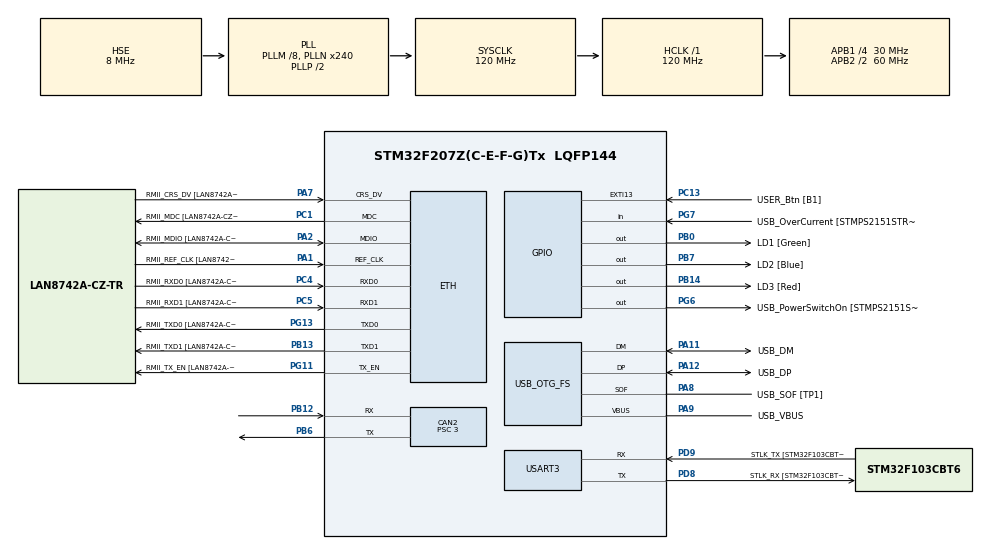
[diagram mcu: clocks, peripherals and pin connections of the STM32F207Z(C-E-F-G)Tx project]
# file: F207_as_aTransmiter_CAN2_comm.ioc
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CAN2.ABOM=ENABLE
CAN2.BS1=CAN_BS1_8TQ
CAN2.CalculateBaudRate=1000000
CAN2.CalculateTimeBit=1000
CAN2.CalculateTimeQuantum=100.0
CAN2.NART=ENABLE
CAN2.Prescaler=3
ETH.MediaInterface=ETH_MEDIA_INTERFACE_RMII
ETH.PHY_Name=LAN8742A_PHY_ADDRESS
ETH.PHY_Value=0
ETH.PhyAddress=0
Mcu.Family=STM32F2
Mcu.Name=STM32F207Z(C-E-F-G)Tx
Mcu.Package=LQFP144
NVIC.CAN2_TX_IRQn=true\:0\:0\:false\:false\:true\:true\:true\:true
NVIC.PriorityGroup=NVIC_PRIORITYGROUP_4
PA1.GPIO_Label=RMII_REF_CLK [LAN8742A-CZ-TR_REFCLK0]
PA1.Mode=RMII
PA1.Signal=ETH_REF_CLK
PA10.GPIO_Label=USB_ID
PA10.Signal=USB_OTG_FS_ID
PA11.GPIO_Label=USB_DM
PA11.Mode=Device_Only
PA11.Signal=USB_OTG_FS_DM
PA12.GPIO_Label=USB_DP
PA12.Mode=Device_Only
PA12.Signal=USB_OTG_FS_DP
PA13.GPIO_Label=TMS
PA13.Mode=Serial_Wire
PA13.Signal=SYS_JTMS-SWDIO
PA14.GPIO_Label=TCK
PA14.Mode=Serial_Wire
PA14.Signal=SYS_JTCK-SWCLK
PA2.GPIO_Label=RMII_MDIO [LAN8742A-CZ-TR_MDIO]
PA2.Mode=RMII
PA2.Signal=ETH_MDIO
PA7.GPIO_Label=RMII_CRS_DV [LAN8742A-CZ-TR_CRS_DV]
PA7.Mode=RMII
PA7.Signal=ETH_CRS_DV
PA8.GPIO_Label=USB_SOF [TP1]
PA8.Mode=Activate_SOF_FS
PA8.Signal=USB_OTG_FS_SOF
PA9.GPIO_Label=USB_VBUS
PA9.Mode=Activate_VBUS
PA9.Signal=USB_OTG_FS_VBUS
PB0.GPIO_Label=LD1 [Green]
PB0.Signal=GPIO_Output
PB12.Mode=CAN_Activate
PB12.Signal=CAN2_RX
PB13.GPIO_Label=RMII_TXD1 [LAN8742A-CZ-TR_TXD1]
PB13.Mode=RMII
PB13.Signal=ETH_TXD1
PB14.GPIO_Label=LD3 [Red]
PB14.Signal=GPIO_Output
PB3.GPIO_Label=SWO
PB3.Signal=SYS_JTDO-SWO
PB6.Mode=CAN_Activate
PB6.Signal=CAN2_TX
PB7.GPIO_Label=LD2 [Blue]
PB7.Signal=GPIO_Output
PC1.GPIO_Label=RMII_MDC [LAN8742A-CZ-TR_MDC]
PC1.Mode=RMII
PC1.Signal=ETH_MDC
PC13.GPIO_Label=USER_Btn [B1]
PC13.Signal=GPXTI13
PC14-OSC32_IN.Mode=LSE-External-Oscillator
PC14-OSC32_IN.Signal=RCC_OSC32_IN
PC15-OSC32_OUT.Mode=LSE-External-Oscillator
PC15-OSC32_OUT.Signal=RCC_OSC32_OUT
PC4.GPIO_Label=RMII_RXD0 [LAN8742A-CZ-TR_RXD0]
PC4.Mode=RMII
PC4.Signal=ETH_RXD0
PC5.GPIO_Label=RMII_RXD1 [LAN8742A-CZ-TR_RXD1]
PC5.Mode=RMII
PC5.Signal=ETH_RXD1
PD8.GPIO_Label=STLK_RX [STM32F103CBT6_PA2]
PD8.Mode=Asynchronous
PD8.Signal=USART3_TX
PD9.GPIO_Label=STLK_TX [STM32F103CBT6_PA3]
PD9.Mode=Asynchronous
PD9.Signal=USART3_RX
PG11.GPIO_Label=RMII_TX_EN [LAN8742A-CZ-TR_TXEN]
PG11.Mode=RMII
PG11.Signal=ETH_TX_EN
PG13.GPIO_Label=RMII_TXD0 [LAN8742A-CZ-TR_TXD0]
PG13.Mode=RMII
PG13.Signal=ETH_TXD0
PG6.GPIO_Label=USB_PowerSwitchOn [STMPS2151STR_EN]
PG6.Signal=GPIO_Output
PG7.GPIO_Label=USB_OverCurrent [STMPS2151STR_FAULT]
PG7.Signal=GPIO_Input
PH0-OSC_IN.GPIO_Label=MCO [STM32F103CBT6_PA8]
PH0-OSC_IN.Mode=HSE-External-Clock-Source
PH0-OSC_IN.Signal=RCC_OSC_IN
PH1-OSC_OUT.Mode=HSE-External-Clock-Source
PH1-OSC_OUT.Signal=RCC_OSC_OUT
ProjectManager.HeapSize=0x200
ProjectManager.StackSize=0x400
ProjectManager.TargetToolchain=STM32CubeIDE
RCC.48MHZClocksFreq_Value=48000000
RCC.AHBFreq_Value=120000000
RCC.APB1CLKDivider=RCC_HCLK_DIV4
RCC.APB1Freq_Value=30000000
RCC.APB1TimFreq_Value=60000000
RCC.APB2CLKDivider=RCC_HCLK_DIV2
RCC.APB2Freq_Value=60000000
RCC.APB2TimFreq_Value=120000000
RCC.CortexFreq_Value=120000000
RCC.HCLKFreq_Value=120000000
RCC.HSE_VALUE=8000000
RCC.HSI_VALUE=16000000
RCC.PLLM=8
RCC.PLLMUL=RCC_PLL_MUL9
RCC.PLLN=240
RCC.PLLQ=5
RCC.PLLSourceVirtual=RCC_PLLSOURCE_HSE
RCC.PRESCALERUSB=RCC_USBCLKSOURCE_PLL_DIV1_5
RCC.SYSCLKFreq_VALUE=120000000
RCC.SYSCLKSource=RCC_SYSCLKSOURCE_PLLCLK
RCC.SYSCLKSourceVirtual=RCC_SYSCLKSOURCE_PLLCLK
RCC.USBFreq_Value=48000000
RCC.VCOOutputFreq_Value=240000000
USART3.VirtualMode=VM_ASYNC
USB_OTG_FS.VirtualMode=Device_Only
board=NUCLEO-F207ZG

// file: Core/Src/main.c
/* USER CODE BEGIN Header */
/**
  ******************************************************************************
  * @file           : main.c
  * @brief          : Main program body
  ******************************************************************************
  * @attention
  *
  * Copyright (c) 2026 STMicroelectronics.
  * All rights reserved.
  *
  * This software is licensed under terms that can be found in the LICENSE file
  * in the root directory of this software component.
  * If no LICENSE file comes with this software, it is provided AS-IS.
  *
  ******************************************************************************
  */
/* USER CODE END Header */
#include "main.h"

CAN_HandleTypeDef hcan2;

ETH_HandleTypeDef heth;

UART_HandleTypeDef huart3;

PCD_HandleTypeDef hpcd_USB_OTG_FS;

void SystemClock_Config(void);
static void MX_GPIO_Init(void);
static void MX_ETH_Init(void);
static void MX_USART3_UART_Init(void);
static void MX_USB_OTG_FS_PCD_Init(void);
static void MX_CAN2_Init(void);

int main(void)
{

  /* MCU Configuration--------------------------------------------------------*/

  /* Reset of all peripherals, Initializes the Flash interface and the Systick. */
  HAL_Init();

  /* Configure the system clock */
  SystemClock_Config();

  /* Initialize all configured peripherals */
  MX_GPIO_Init();
  //MX_ETH_Init();
  MX_USART3_UART_Init();
  MX_USB_OTG_FS_PCD_Init();
  MX_CAN2_Init();
  /* USER CODE BEGIN 2 */

  CAN_FilterTypeDef sFilterConfig;

  sFilterConfig.FilterBank = 14;               // For CAN2 use 14–27
  sFilterConfig.FilterMode = CAN_FILTERMODE_IDMASK;
  sFilterConfig.FilterScale = CAN_FILTERSCALE_32BIT;
  sFilterConfig.FilterIdHigh = 0x0000;
  sFilterConfig.FilterIdLow = 0x0000;
  sFilterConfig.FilterMaskIdHigh = 0x0000;
  sFilterConfig.FilterMaskIdLow = 0x0000;
  sFilterConfig.FilterFIFOAssignment = CAN_FILTER_FIFO0;
  sFilterConfig.FilterActivation = ENABLE;
  sFilterConfig.SlaveStartFilterBank = 14;

  HAL_CAN_ConfigFilter(&hcan2, &sFilterConfig);

  HAL_CAN_Start(&hcan2);
  HAL_CAN_ActivateNotification(&hcan2, CAN_IT_TX_MAILBOX_EMPTY);

  /* Create TX structures only once */
  CAN_TxHeaderTypeDef TxHeader;
  uint32_t TxMailbox;
  uint8_t TxData[8];

  TxHeader.StdId = 0x123;
  TxHeader.ExtId = 0x00;
  TxHeader.IDE = CAN_ID_STD;
  TxHeader.RTR = CAN_RTR_DATA;
  TxHeader.DLC = 8;
  TxHeader.TransmitGlobalTime = DISABLE;
  /* USER CODE END 2 */

  /* Infinite loop */
  /* USER CODE BEGIN WHILE */
  while (1)
  {
	  TxData[0] = 'P';
	  TxData[1] = 'R';
	  TxData[2] = 'A';
	  TxData[3] = 'M';
	  TxData[4] = 'E';
	  TxData[5] = 'E';
	  TxData[6] = 'L';
	  TxData[7] = 'A';

	  if (HAL_CAN_GetTxMailboxesFreeLevel(&hcan2) > 0)
	      {
	          HAL_CAN_AddTxMessage(&hcan2, &TxHeader, TxData, &TxMailbox);
	      }

	      HAL_Delay(5000);

	  }
    /* USER CODE END WHILE */

}

void SystemClock_Config(void)
{
  RCC_OscInitTypeDef RCC_OscInitStruct = {0};
  RCC_ClkInitTypeDef RCC_ClkInitStruct = {0};

  /** Initializes the RCC Oscillators according to the specified parameters
  * in the RCC_OscInitTypeDef structure.
  */
  RCC_OscInitStruct.OscillatorType = RCC_OSCILLATORTYPE_HSE;
  RCC_OscInitStruct.HSEState = RCC_HSE_BYPASS;
  RCC_OscInitStruct.PLL.PLLState = RCC_PLL_ON;
  RCC_OscInitStruct.PLL.PLLSource = RCC_PLLSOURCE_HSE;
  RCC_OscInitStruct.PLL.PLLM = 8;
  RCC_OscInitStruct.PLL.PLLN = 240;
  RCC_OscInitStruct.PLL.PLLP = RCC_PLLP_DIV2;
  RCC_OscInitStruct.PLL.PLLQ = 5;
  if (HAL_RCC_OscConfig(&RCC_OscInitStruct) != HAL_OK)
  {
    Error_Handler();
  }

  /** Initializes the CPU, AHB and APB buses clocks
  */
  RCC_ClkInitStruct.ClockType = RCC_CLOCKTYPE_HCLK|RCC_CLOCKTYPE_SYSCLK
                              |RCC_CLOCKTYPE_PCLK1|RCC_CLOCKTYPE_PCLK2;
  RCC_ClkInitStruct.SYSCLKSource = RCC_SYSCLKSOURCE_PLLCLK;
  RCC_ClkInitStruct.AHBCLKDivider = RCC_SYSCLK_DIV1;
  RCC_ClkInitStruct.APB1CLKDivider = RCC_HCLK_DIV4;
  RCC_ClkInitStruct.APB2CLKDivider = RCC_HCLK_DIV2;

  if (HAL_RCC_ClockConfig(&RCC_ClkInitStruct, FLASH_LATENCY_3) != HAL_OK)
  {
    Error_Handler();
  }
}

static void MX_CAN2_Init(void)
{

  hcan2.Instance = CAN2;
  hcan2.Init.Prescaler = 3;
  hcan2.Init.Mode = CAN_MODE_NORMAL;
  hcan2.Init.SyncJumpWidth = CAN_SJW_1TQ;
  hcan2.Init.TimeSeg1 = CAN_BS1_8TQ;
  hcan2.Init.TimeSeg2 = CAN_BS2_1TQ;
  hcan2.Init.TimeTriggeredMode = DISABLE;
  hcan2.Init.AutoBusOff = ENABLE;
  hcan2.Init.AutoWakeUp = DISABLE;
  hcan2.Init.AutoRetransmission = ENABLE;
  hcan2.Init.ReceiveFifoLocked = DISABLE;
  hcan2.Init.TransmitFifoPriority = DISABLE;
  if (HAL_CAN_Init(&hcan2) != HAL_OK)
  {
    Error_Handler();
  }

}

static void MX_ETH_Init(void)
{

   static uint8_t MACAddr[6];

  heth.Instance = ETH;
  heth.Init.AutoNegotiation = ETH_AUTONEGOTIATION_ENABLE;
  heth.Init.Speed = ETH_SPEED_100M;
  heth.Init.DuplexMode = ETH_MODE_FULLDUPLEX;
  heth.Init.PhyAddress = LAN8742A_PHY_ADDRESS;
  MACAddr[0] = 0x00;
  MACAddr[1] = 0x80;
  MACAddr[2] = 0xE1;
  MACAddr[3] = 0x00;
  MACAddr[4] = 0x00;
  MACAddr[5] = 0x00;
  heth.Init.MACAddr = &MACAddr[0];
  heth.Init.RxMode = ETH_RXPOLLING_MODE;
  heth.Init.ChecksumMode = ETH_CHECKSUM_BY_HARDWARE;
  heth.Init.MediaInterface = ETH_MEDIA_INTERFACE_RMII;

  if (HAL_ETH_Init(&heth) != HAL_OK)
  {
    Error_Handler();
  }

}

static void MX_USART3_UART_Init(void)
{

  huart3.Instance = USART3;
  huart3.Init.BaudRate = 115200;
  huart3.Init.WordLength = UART_WORDLENGTH_8B;
  huart3.Init.StopBits = UART_STOPBITS_1;
  huart3.Init.Parity = UART_PARITY_NONE;
  huart3.Init.Mode = UART_MODE_TX_RX;
  huart3.Init.HwFlowCtl = UART_HWCONTROL_NONE;
  huart3.Init.OverSampling = UART_OVERSAMPLING_16;
  if (HAL_UART_Init(&huart3) != HAL_OK)
  {
    Error_Handler();
  }

}

static void MX_USB_OTG_FS_PCD_Init(void)
{

  hpcd_USB_OTG_FS.Instance = USB_OTG_FS;
  hpcd_USB_OTG_FS.Init.dev_endpoints = 4;
  hpcd_USB_OTG_FS.Init.speed = PCD_SPEED_FULL;
  hpcd_USB_OTG_FS.Init.dma_enable = DISABLE;
  hpcd_USB_OTG_FS.Init.phy_itface = PCD_PHY_EMBEDDED;
  hpcd_USB_OTG_FS.Init.Sof_enable = ENABLE;
  hpcd_USB_OTG_FS.Init.low_power_enable = DISABLE;
  hpcd_USB_OTG_FS.Init.vbus_sensing_enable = ENABLE;
  hpcd_USB_OTG_FS.Init.use_dedicated_ep1 = DISABLE;
  if (HAL_PCD_Init(&hpcd_USB_OTG_FS) != HAL_OK)
  {
    Error_Handler();
  }

}

static void MX_GPIO_Init(void)
{
  GPIO_InitTypeDef GPIO_InitStruct = {0};

  /* GPIO Ports Clock Enable */
  __HAL_RCC_GPIOC_CLK_ENABLE();
  __HAL_RCC_GPIOH_CLK_ENABLE();
  __HAL_RCC_GPIOA_CLK_ENABLE();
  __HAL_RCC_GPIOB_CLK_ENABLE();
  __HAL_RCC_GPIOD_CLK_ENABLE();
  __HAL_RCC_GPIOG_CLK_ENABLE();

  /*Configure GPIO pin Output Level */
  HAL_GPIO_WritePin(GPIOB, LD1_Pin|LD3_Pin|LD2_Pin, GPIO_PIN_RESET);

  /*Configure GPIO pin Output Level */
  HAL_GPIO_WritePin(USB_PowerSwitchOn_GPIO_Port, USB_PowerSwitchOn_Pin, GPIO_PIN_RESET);

  /*Configure GPIO pin : USER_Btn_Pin */
  GPIO_InitStruct.Pin = USER_Btn_Pin;
  GPIO_InitStruct.Mode = GPIO_MODE_IT_RISING;
  GPIO_InitStruct.Pull = GPIO_NOPULL;
  HAL_GPIO_Init(USER_Btn_GPIO_Port, &GPIO_InitStruct);

  /*Configure GPIO pins : LD1_Pin LD3_Pin LD2_Pin */
  GPIO_InitStruct.Pin = LD1_Pin|LD3_Pin|LD2_Pin;
  GPIO_InitStruct.Mode = GPIO_MODE_OUTPUT_PP;
  GPIO_InitStruct.Pull = GPIO_NOPULL;
  GPIO_InitStruct.Speed = GPIO_SPEED_FREQ_LOW;
  HAL_GPIO_Init(GPIOB, &GPIO_InitStruct);

  /*Configure GPIO pin : USB_PowerSwitchOn_Pin */
  GPIO_InitStruct.Pin = USB_PowerSwitchOn_Pin;
  GPIO_InitStruct.Mode = GPIO_MODE_OUTPUT_PP;
  GPIO_InitStruct.Pull = GPIO_NOPULL;
  GPIO_InitStruct.Speed = GPIO_SPEED_FREQ_LOW;
  HAL_GPIO_Init(USB_PowerSwitchOn_GPIO_Port, &GPIO_InitStruct);

  /*Configure GPIO pin : USB_OverCurrent_Pin */
  GPIO_InitStruct.Pin = USB_OverCurrent_Pin;
  GPIO_InitStruct.Mode = GPIO_MODE_INPUT;
  GPIO_InitStruct.Pull = GPIO_NOPULL;
  HAL_GPIO_Init(USB_OverCurrent_GPIO_Port, &GPIO_InitStruct);

}

/* USER CODE BEGIN 4 */
void HAL_CAN_TxMailbox0CompleteCallback(CAN_HandleTypeDef *hcan)
{
    HAL_GPIO_TogglePin(GPIOB, LD2_Pin);
}
/* USER CODE END 4 */

void Error_Handler(void)
{
  __disable_irq();
  while (1)
  {
  }
}
